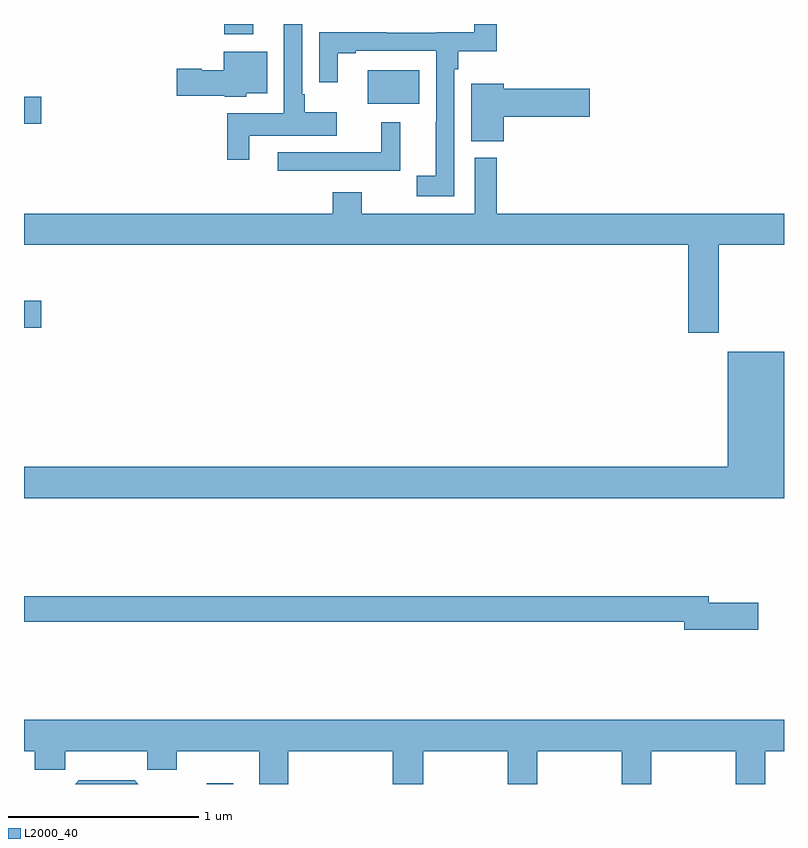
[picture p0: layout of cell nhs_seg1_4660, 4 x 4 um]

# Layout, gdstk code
import gdstk
lib = gdstk.Library(unit=1e-6, precision=1e-09)
def R(c, l, rs):  # rectangles x0, y0, x1, y1
    for r in rs: c.add(gdstk.rectangle(r[:2], r[2:], *l))
def P(c, l, *ps):  # polygons
    for p in ps: c.add(gdstk.Polygon(p, *l))
L2000_40 = (2000, 40)

nhs_seg1_4660 = lib.new_cell('nhs_seg1_4660')
R(nhs_seg1_4660, L2000_40, [(363.962,578.199,364.102,578.203), (363,580.601,363.091,580.743), (363,581.674,363.091,581.816), (364.808,581.78,365.08,581.956), (364.055,582.144,364.207,582.199)])
P(nhs_seg1_4660, L2000_40, [(365.265,581.96),(365.285,581.96),(365.285,582.056),(365.489,582.056),(365.489,582.199),(365.371,582.199),(365.371,582.155),(365.172,582.155),(365.172,582.153),(364.91,582.153),(364.91,582.155),(364.554,582.155),(364.554,581.892),(364.651,581.892),(364.651,582.045),(364.747,582.045),(364.747,582.057),(365.169,582.057),(365.169,581.684),(365.168,581.684),(365.168,581.401),(365.067,581.401),(365.067,581.292),(365.265,581.292)],
  [(364.186,581.612),(364.645,581.612),(364.645,581.734),(364.477,581.734),(364.477,581.83),(364.464,581.83),(364.464,582.199),(364.368,582.199),(364.368,581.728),(364.069,581.728),(364.069,581.484),(364.186,581.484)],
  [(364.17,581.834),(364.279,581.834),(364.279,582.052),(364.052,582.052),(364.052,581.956),(363.936,581.956),(363.936,581.964),(363.804,581.964),(363.804,581.822),(364.056,581.822),(364.056,581.816),(364.17,581.816)],
  [(365.525,581.711),(365.977,581.711),(365.977,581.858),(365.525,581.858),(365.525,581.884),(365.354,581.884),(365.354,581.581),(365.525,581.581)],
  [(364.979,581.683),(364.879,581.683),(364.879,581.523),(364.335,581.523),(364.335,581.427),(364.979,581.427)],
  [(366.657,581.036),(367,581.036),(367,581.2),(365.489,581.2),(365.489,581.496),(365.373,581.496),(365.373,581.2),(364.777,581.2),(364.777,581.314),(364.625,581.314),(364.625,581.2),(363,581.2),(363,581.036),(366.497,581.036),(366.497,580.575),(366.657,580.575)],
  [(367,580.474),(366.704,580.474),(366.704,579.868),(363,579.868),(363,579.704),(367,579.704)],
  [(366.865,579.152),(366.604,579.152),(366.604,579.188),(363,579.188),(363,579.052),(366.476,579.052),(366.476,579.01),(366.865,579.01)],
  [(364.391,578.372),(364.94,578.372),(364.94,578.199),(365.1,578.199),(365.1,578.372),(365.545,578.372),(365.545,578.199),(365.7,578.199),(365.7,578.372),(366.145,578.372),(366.145,578.199),(366.3,578.199),(366.3,578.372),(366.745,578.372),(366.745,578.199),(366.9,578.199),(366.9,578.372),(367,578.372),(367,578.536),(363,578.536),(363,578.372),(363.056,578.372),(363.056,578.274),(363.216,578.274),(363.216,578.372),(363.649,578.372),(363.649,578.274),(363.804,578.274),(363.804,578.372),(364.238,578.372),(364.238,578.199),(364.391,578.199)],
  [(363.582,578.218),(363.289,578.218),(363.27,578.199),(363.6,578.199)])

lib.write_gds('nhs_seg1_4660.gds')
